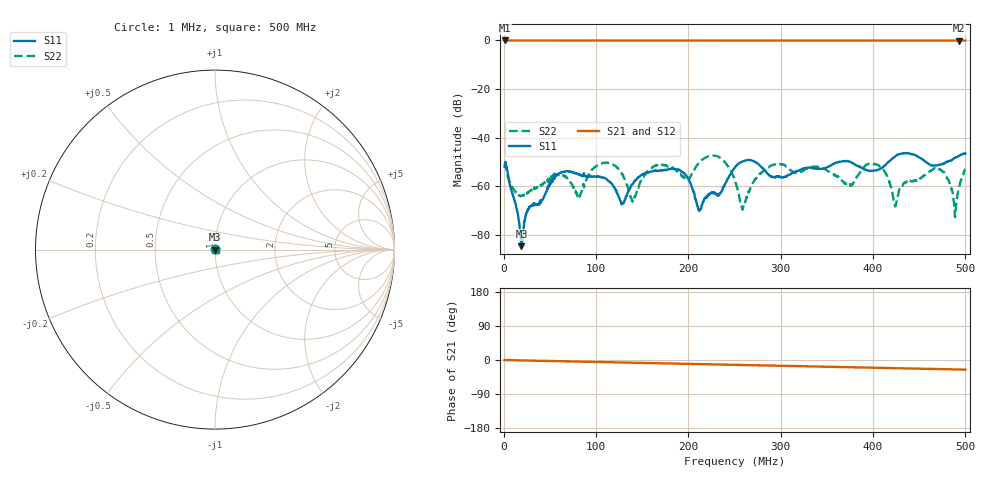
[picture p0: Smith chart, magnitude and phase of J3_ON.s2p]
! MS46122B
! 1746301/73750021
! 8/7/2023 2:29:37 PM
! C:\USERS\SPEGWAL\DOWNLOADS\SAURABH\REACH\NODES\FRONT END\MEASUREMENTS\MEASURED SWITCH S-PARAMETER_28-07-2023\MS-3\J3_ON.S2P
! CHANNEL.1
! TR.MEASUREMENT
! CORRECTED.DATA
# GHZ S RI R 50.0
! FREQ.GHZ  S11RE  S11IM  S21RE  S21IM  S12RE  S12IM  S22RE  S22IM
!; PortSelection: Port_12
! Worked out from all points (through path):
!   2001 points, 1 MHz to 500 MHz, reference 50 ohm
!   highest |S21| = 0.01 dB at 1 MHz (marker M1); lowest = 0.0 dB at 493.3 MHz (marker M2)
!   group delay of S21, straight-line fit = 140 ps
!   lowest |S11| = -84.7 dB at 19.21 MHz (marker M3), VSWR 1.00, Z = 50 - j0.0057 ohm
!   |S11| at or under -10 dB: start of sweep to end of sweep
!   |S22| runs from -72.7 to -47.4 dB; largest |S21 - S12| = 0.0048
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0.001  -0.00165 0.00193  1.001 -0.00305  0.9983 -0.00386  -0.000806 0.00249
0.0192135  -1.24e-05 -5.7e-05  0.9987 -0.0184  0.9972 -0.0197  0.000603 -0.000195
0.05589  0.0016 -0.000171  0.9967 -0.0513  0.9954 -0.0521  0.00127 0.00106
0.084333  0.00167 0.000179  0.9949 -0.0762  0.9934 -0.0771  0.000742 -0.000179
0.1045425  0.000912 0.00128  0.9931 -0.0938  0.9918 -0.0947  0.00281 -0.000709
0.1284945  0.000433 5.01e-05  0.9908 -0.1146  0.9894 -0.1155  0.00147 0.000891
0.1399715  0.000668 -0.00091  0.9894 -0.1249  0.9881 -0.1256  0.000457 -0.000139
0.1674165  0.0019 -0.000788  0.9861 -0.1488  0.9848 -0.1497  0.00253 -0.000881
0.19561  0.00183 0.000305  0.9819 -0.1731  0.9805 -0.1737  0.00148 0.00017
0.2123265  6.64e-05 -0.000312  0.9791 -0.1874  0.9777 -0.1885  0.00237 -0.00201
0.2327855  -0.000111 -0.000644  0.9756 -0.2052  0.9741 -0.2064  0.00386 -0.00113
0.2505  0.00214 -0.0012  0.9722 -0.2204  0.9708 -0.221  0.00127 0.000136
0.258983  0.00285 -0.00159  0.9705 -0.2276  0.969 -0.2291  0.000195 -0.000293
0.2881745  0.00163 -0.000348  0.9642 -0.2526  0.9629 -0.253  0.00248 -0.000604
0.333833  0.00188 -0.00145  0.9531 -0.2908  0.9518 -0.2918  0.00206 -0.00144
0.4019465  0.00136 -0.00161  0.9336 -0.3476  0.9315 -0.3506  0.0028 -0.000697
0.4169165  0.00272 -0.00166  0.929 -0.3597  0.9281 -0.3598  0.00135 -0.000169
0.424152  0.0037 -0.00187  0.9269 -0.3653  0.9258 -0.3652  0.000151 -0.000353
0.467565  0.00267 0.000131  0.9121 -0.4006  0.9111 -0.4001  0.0019 0.00131
0.4887725  0.00342 -0.00172  0.9041 -0.4184  0.903 -0.4182  0.000219 -7.09e-05
0.4932635  0.00343 -0.00248  0.9022 -0.4217  0.9009 -0.4228  0.00021 -0.000928
0.5  0.0032 -0.00347  0.8999 -0.4273  0.8973 -0.4301  0.000577 -0.00214
